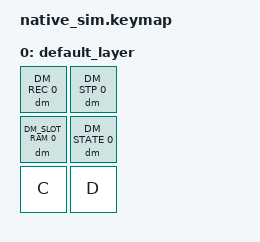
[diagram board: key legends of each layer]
#include <dt-bindings/zmk/keys.h>
#include <behaviors.dtsi>
#include <dt-bindings/zmk/kscan_mock.h>
#include <behaviors/dynamic_macro.dtsi>
#include <dt-bindings/zmk/dynamic_macros.h>

/*
 * Interrupt (trigger A): a DM binding press during a live SAVED-with-preview
 * dump ABORTS it — and only aborts it (the command does not also run,
 * "abort only").
 *
 * At VERBOSE level a slot assign types a SAVED cue that streams the just-saved
 * macro's preview (">R0:'cdcdcd' ..."), a long dump at TAP_DELAY=40. While it is
 * still typing, press the DM STATE key.
 *
 *   Fixed:  the STATE press aborts the SAVED-preview dump
 *           (dm_feedback_pump_cancel_output returns true, so on_keymap_binding_pressed
 *           returns OPAQUE and skips dispatch) — the snapshot shows a PARTIAL
 *           SAVED dump and NO status dump follows (the STATE command was dropped).
 *   Buggy:  the SAVED dump completes AND the STATE command then runs, so the
 *           snapshot shows the full SAVED preview followed by a STATUS dump.
 *
 * DM keys are OPAQUE (never emit a host keycode), so trigger A is exercised
 * purely through the binding path, not the listener. AUTO_ERASE off; TAP_DELAY=40.
 */

&kscan {
    rows = <4>;
    columns = <2>;
    exit-after;
};

/ {
    keymap {
        compatible = "zmk,keymap";
        default_layer {
            bindings = <
                &dm DM_REC 0        &dm DM_STP 0
                &dm DM_SLOT_RAM 0   &dm DM_STATE 0
                &kp C               &kp D
            >;
        };
    };
};

&kscan {
    events = <
        /* --- record "cdcdcd" into RAM slot 0 (a long preview) --- */
        ZMK_MOCK_PRESS(0,0,10)      /* REC */
        ZMK_MOCK_RELEASE(0,0,300)
        ZMK_MOCK_PRESS(2,0,10)      /* C */
        ZMK_MOCK_RELEASE(2,0,10)
        ZMK_MOCK_PRESS(2,1,10)      /* D */
        ZMK_MOCK_RELEASE(2,1,10)
        ZMK_MOCK_PRESS(2,0,10)      /* C */
        ZMK_MOCK_RELEASE(2,0,10)
        ZMK_MOCK_PRESS(2,1,10)      /* D */
        ZMK_MOCK_RELEASE(2,1,10)
        ZMK_MOCK_PRESS(2,0,10)      /* C */
        ZMK_MOCK_RELEASE(2,0,10)
        ZMK_MOCK_PRESS(2,1,10)      /* D */
        ZMK_MOCK_RELEASE(2,1,10)
        ZMK_MOCK_PRESS(0,1,300)     /* STP */
        ZMK_MOCK_RELEASE(0,1,300)

        /* --- assign to RAM slot 0: VERBOSE SAVED cue streams ">R0:'cdcdcd'..." --- */
        ZMK_MOCK_PRESS(1,0,10)      /* SLOT_RAM 0 */
        ZMK_MOCK_RELEASE(1,0,10)
        /* --- DM STATE deep inside the SAVED-preview dump: aborts, command dropped --- */
        ZMK_MOCK_PRESS(1,1,500)     /* STATE */
        ZMK_MOCK_RELEASE(1,1,2000)
    >;
};
